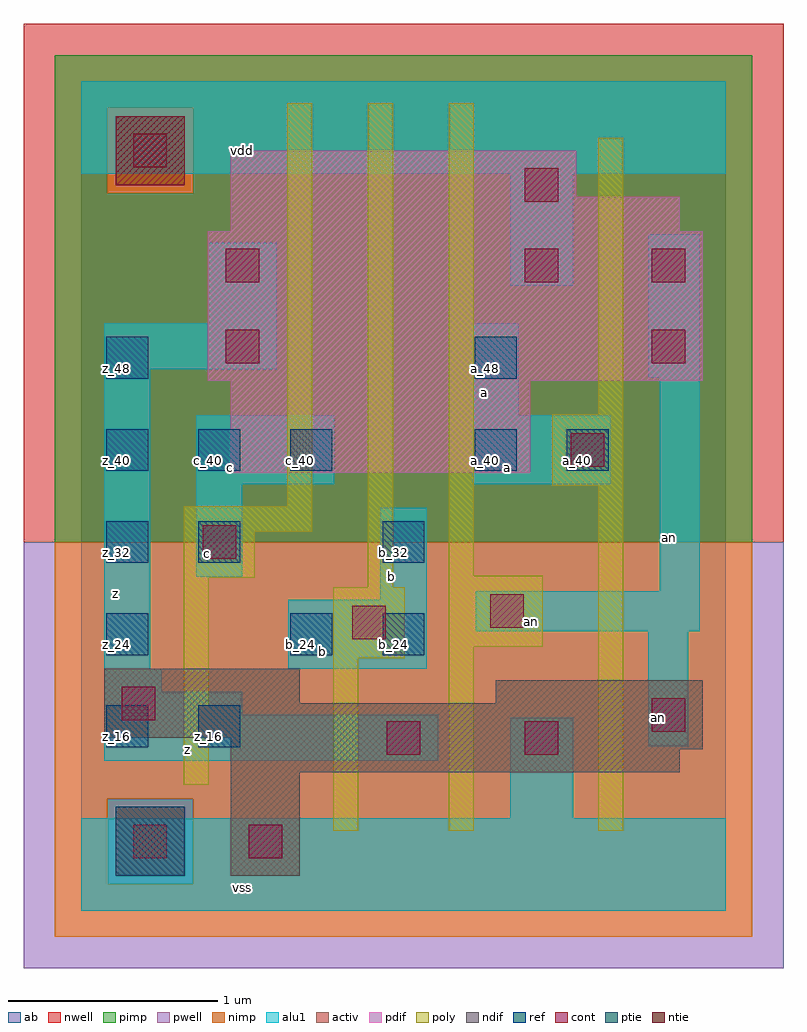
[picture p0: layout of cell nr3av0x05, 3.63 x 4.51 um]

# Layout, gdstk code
import gdstk
lib = gdstk.Library(unit=1e-6, precision=2.5e-09)
def R(c, l, rs):  # rectangles x0, y0, x1, y1
    for r in rs: c.add(gdstk.rectangle(r[:2], r[2:], *l))
def A(c, l, x, y, w, h, nx, ny, dx, dy):  # array of equal rectangles
    R(c, l, [(x+i*dx, y+j*dy, x+i*dx+w, y+j*dy+h) for i in range(nx) for j in range(ny)])
ndif = (3, 0)
pdif = (4, 0)
ntie = (5, 0)
ptie = (6, 0)
ref = (24, 0)
cont = (25, 0)
pwell = (41, 0)
nwell = (42, 0)
activ = (43, 0)
pimp = (44, 0)
nimp = (45, 0)
poly = (46, 0)
alu1 = (49, 0)
ab = (63, 0)

nr3av0x05 = lib.new_cell('nr3av0x05')
R(nr3av0x05, ndif, [(0.715,0.165,1.045,0.66), (0.715,0.66,2.86,0.77), (0.715,0.77,2.97,0.825), (0.11,0.825,2.97,0.99), (0.11,0.99,1.045,1.155), (1.98,0.99,2.97,1.1)])
R(nr3av0x05, pdif, [(0.715,2.09,2.145,2.53), (0.605,2.53,2.97,3.245), (0.715,3.245,2.86,3.41), (0.715,3.41,2.365,3.63)])
R(nr3av0x05, ntie, [(0.165,3.465,0.495,3.795)])
R(nr3av0x05, ptie, [(0.165,0.165,0.495,0.495)])
A(nr3av0x05, ref, 0.12, 0.78, 0.2, 0.2, 1, 3, 0, 0.44)
A(nr3av0x05, ref, 0.12, 2.1, 0.2, 0.2, 3, 1, 0.44, 0)
R(nr3av0x05, ref, [(0.56,0.78,0.76,0.98), (1,1.22,1.2,1.42), (1.44,1.22,1.64,1.42), (0.56,1.66,0.76,1.86), (1.44,1.66,1.64,1.86), (1.88,2.1,2.08,2.3), (2.32,2.1,2.52,2.3), (0.12,2.54,0.32,2.74), (1.88,2.54,2.08,2.74)])
R(nr3av0x05, cont, [(0.25,0.25,0.41,0.41), (0.8,0.25,0.96,0.41), (1.46,0.745,1.62,0.905), (2.12,0.745,2.28,0.905), (2.725,0.855,2.885,1.015), (0.195,0.91,0.355,1.07), (1.295,1.295,1.455,1.455), (1.955,1.35,2.115,1.51), (0.58,1.68,0.74,1.84), (2.34,2.12,2.5,2.28), (0.69,2.615,0.85,2.775), (2.725,2.615,2.885,2.775), (0.69,3,0.85,3.16), (2.12,3,2.28,3.16), (2.725,3,2.885,3.16), (2.12,3.385,2.28,3.545), (0.25,3.55,0.41,3.71)])
R(nr3av0x05, pwell, [(-0.275,-0.275,3.355,1.76)])
R(nr3av0x05, nwell, [(-0.275,1.76,3.355,4.235)])
R(nr3av0x05, activ, [(0.165,0.165,0.495,0.495), (0.715,0.165,1.045,0.66), (0.715,0.66,2.86,0.77), (0.715,0.77,2.97,0.825), (0.11,0.825,2.97,0.99), (0.11,0.99,1.045,1.155), (1.98,0.99,2.97,1.1), (0.715,2.09,2.145,2.53), (0.605,2.53,2.97,3.245), (0.715,3.245,2.86,3.41), (0.715,3.41,2.365,3.63), (0.165,3.465,0.495,3.795)])
R(nr3av0x05, pimp, [(0.125,0.125,0.535,0.535), (-0.125,1.76,3.205,3.425), (-0.125,3.425,0.125,3.835), (0.535,3.425,3.205,3.835), (-0.125,3.835,3.205,4.085)])
R(nr3av0x05, nimp, [(-0.125,-0.125,3.205,0.125), (-0.125,0.125,0.125,0.535), (0.535,0.125,3.205,0.535), (-0.125,0.535,3.205,1.76), (0.125,3.425,0.535,3.835)])
R(nr3av0x05, poly, [(1.205,0.38,1.325,1.205), (1.755,0.38,1.875,1.26), (2.47,0.38,2.59,2.03), (0.49,0.6,0.61,1.59), (1.205,1.205,1.545,1.545), (1.755,1.26,2.205,1.6), (1.37,1.545,1.49,3.855), (0.49,1.59,0.83,1.81), (1.755,1.6,1.875,3.855), (0.49,1.81,1.105,1.93), (0.985,1.93,1.105,3.855), (2.25,2.03,2.59,2.37), (2.47,2.37,2.59,3.69)])
R(nr3av0x05, alu1, [(0,0,3.08,0.44), (2.05,0.44,2.35,0.92), (0.11,0.715,1.705,0.935), (2.71,0.785,2.9,1.335), (0.11,0.935,0.77,1.045), (0.11,1.045,0.385,1.155), (0.11,1.155,0.33,2.585), (0.99,1.155,1.65,1.485), (1.885,1.335,2.955,1.525), (1.43,1.485,1.65,1.925), (2.765,1.525,2.955,2.545), (0.55,1.595,0.77,2.035), (0.55,2.035,1.21,2.365), (1.87,2.035,2.53,2.365), (1.87,2.365,2.09,2.805), (2.71,2.545,2.955,3.23), (0.11,2.585,0.935,2.805), (0.605,2.805,0.935,3.19), (2.05,2.985,2.35,3.52), (0,3.52,3.08,3.96)])
R(nr3av0x05, ab, [(0,0,3.08,3.96)])
nr3av0x05.add(gdstk.Label('vss', (0.77,0.11), layer=49, texttype=0))
nr3av0x05.add(gdstk.Label('an', (2.7575,0.9225), layer=49, texttype=0))
nr3av0x05.add(gdstk.Label('z', (0.5075,0.77), layer=49, texttype=0))
nr3av0x05.add(gdstk.Label('an', (2.1525,1.3825), layer=49, texttype=0))
nr3av0x05.add(gdstk.Label('b', (1.155,1.2375), layer=49, texttype=0))
nr3av0x05.add(gdstk.Label('an', (2.8125,1.78), layer=49, texttype=0))
nr3av0x05.add(gdstk.Label('b', (1.485,1.595), layer=49, texttype=0))
nr3av0x05.add(gdstk.Label('c', (0.605,1.705), layer=49, texttype=0))
nr3av0x05.add(gdstk.Label('a', (2.035,2.1175), layer=49, texttype=0))
nr3av0x05.add(gdstk.Label('c', (0.715,2.1175), layer=49, texttype=0))
nr3av0x05.add(gdstk.Label('a', (1.925,2.475), layer=49, texttype=0))
nr3av0x05.add(gdstk.Label('z', (0.165,1.5125), layer=49, texttype=0))
nr3av0x05.add(gdstk.Label('vdd', (0.77,3.63), layer=49, texttype=0))
nr3av0x05.add(gdstk.Label('a_48', (1.93,2.59), layer=24, texttype=0))
nr3av0x05.add(gdstk.Label('z_16', (0.17,0.83), layer=24, texttype=0))
nr3av0x05.add(gdstk.Label('z_16', (0.61,0.83), layer=24, texttype=0))
nr3av0x05.add(gdstk.Label('c_32', (0.61,1.71), layer=24, texttype=0))
nr3av0x05.add(gdstk.Label('c_40', (0.61,2.15), layer=24, texttype=0))
nr3av0x05.add(gdstk.Label('z_24', (0.17,1.27), layer=24, texttype=0))
nr3av0x05.add(gdstk.Label('z_32', (0.17,1.71), layer=24, texttype=0))
nr3av0x05.add(gdstk.Label('z_40', (0.17,2.15), layer=24, texttype=0))
nr3av0x05.add(gdstk.Label('z_48', (0.17,2.59), layer=24, texttype=0))
nr3av0x05.add(gdstk.Label('a_40', (2.37,2.15), layer=24, texttype=0))
nr3av0x05.add(gdstk.Label('b_24', (1.05,1.27), layer=24, texttype=0))
nr3av0x05.add(gdstk.Label('b_32', (1.49,1.71), layer=24, texttype=0))
nr3av0x05.add(gdstk.Label('b_24', (1.49,1.27), layer=24, texttype=0))
nr3av0x05.add(gdstk.Label('c_40', (1.05,2.15), layer=24, texttype=0))
nr3av0x05.add(gdstk.Label('a_40', (1.93,2.15), layer=24, texttype=0))

lib.write_gds('nr3av0x05.gds')
